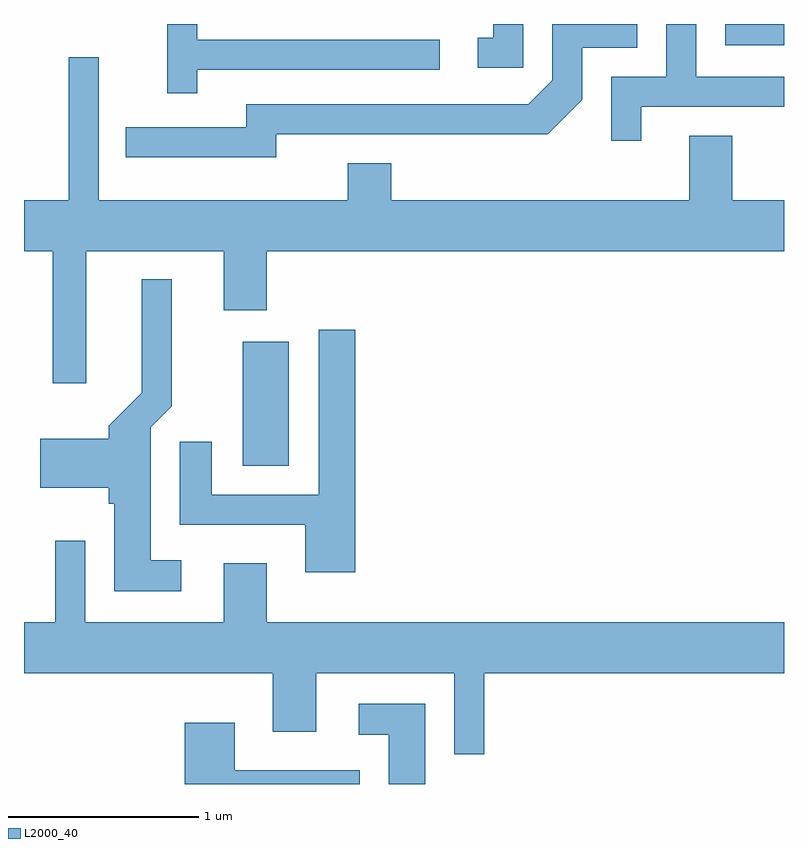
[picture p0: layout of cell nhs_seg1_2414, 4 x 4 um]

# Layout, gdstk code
import gdstk
lib = gdstk.Library(unit=1e-6, precision=1e-09)
def R(c, l, rs):  # rectangles x0, y0, x1, y1
    for r in rs: c.add(gdstk.rectangle(r[:2], r[2:], *l))
def P(c, l, *ps):  # polygons
    for p in ps: c.add(gdstk.Polygon(p, *l))
L2000_40 = (2000, 40)

nhs_seg1_2414 = lib.new_cell('nhs_seg1_2414')
R(nhs_seg1_2414, L2000_40, [(260.761,847.386,261.004,848.039), (263.301,849.601,263.611,849.712)])
P(nhs_seg1_2414, L2000_40, [(260.939,849.131),(262.367,849.131),(262.549,849.314),(262.549,849.586),(262.839,849.586),(262.839,849.712),(262.391,849.712),(262.391,849.417),(262.264,849.289),(260.781,849.289),(260.781,849.169),(260.147,849.169),(260.147,849.011),(260.939,849.011)],
  [(262.239,849.712),(262.081,849.712),(262.081,849.639),(261.998,849.639),(261.998,849.481),(262.239,849.481)],
  [(260.524,849.471),(261.798,849.471),(261.798,849.629),(260.524,849.629),(260.524,849.712),(260.366,849.712),(260.366,849.348),(260.524,849.348)],
  [(262.859,849.276),(263.611,849.276),(263.611,849.434),(263.149,849.434),(263.149,849.712),(262.991,849.712),(262.991,849.434),(262.701,849.434),(262.701,849.098),(262.859,849.098)],
  [(259.939,848.516),(260.661,848.516),(260.661,848.206),(260.889,848.206),(260.889,848.516),(263.611,848.516),(263.611,848.784),(263.339,848.784),(263.339,849.124),(263.111,849.124),(263.111,848.784),(261.544,848.784),(261.544,848.979),(261.316,848.979),(261.316,848.784),(260.004,848.784),(260.004,849.538),(259.846,849.538),(259.846,848.784),(259.611,848.784),(259.611,848.516),(259.761,848.516),(259.761,847.821),(259.939,847.821)],
  [(260.438,846.889),(260.279,846.889),(260.279,847.589),(260.389,847.699),(260.389,848.368),(260.231,848.368),(260.231,847.772),(260.056,847.597),(260.056,847.529),(259.696,847.529),(259.696,847.271),(260.056,847.271),(260.056,847.186),(260.086,847.186),(260.086,846.726),(260.438,846.726)],
  [(261.354,848.104),(261.161,848.104),(261.161,847.234),(260.599,847.234),(260.599,847.513),(260.431,847.513),(260.431,847.076),(261.091,847.076),(261.091,846.826),(261.354,846.826)],
  [(262.034,846.296),(263.611,846.296),(263.611,846.564),(260.889,846.564),(260.889,846.874),(260.661,846.874),(260.661,846.564),(259.934,846.564),(259.934,846.993),(259.776,846.993),(259.776,846.564),(259.611,846.564),(259.611,846.296),(260.921,846.296),(260.921,845.986),(261.149,845.986),(261.149,846.296),(261.876,846.296),(261.876,845.868),(262.034,845.868)],
  [(261.724,846.134),(261.373,846.134),(261.373,845.971),(261.531,845.971),(261.531,845.712),(261.724,845.712)],
  [(261.379,845.784),(260.719,845.784),(260.719,846.034),(260.456,846.034),(260.456,845.712),(261.379,845.712)])

lib.write_gds('nhs_seg1_2414.gds')
